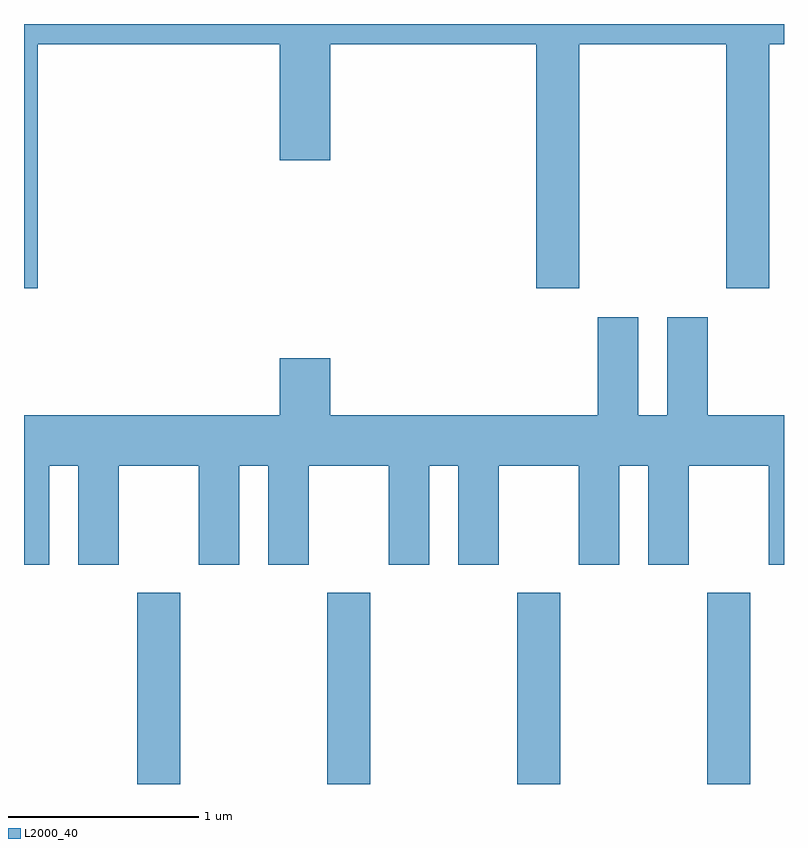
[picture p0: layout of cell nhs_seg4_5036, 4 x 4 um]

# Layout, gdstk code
import gdstk
lib = gdstk.Library(unit=1e-6, precision=1e-09)
def R(c, l, rs):  # rectangles x0, y0, x1, y1
    for r in rs: c.add(gdstk.rectangle(r[:2], r[2:], *l))
def A(c, l, x, y, w, h, nx, ny, dx, dy):  # array of equal rectangles
    R(c, l, [(x+i*dx, y+j*dy, x+i*dx+w, y+j*dy+h) for i in range(nx) for j in range(ny)])
def P(c, l, *ps):  # polygons
    for p in ps: c.add(gdstk.Polygon(p, *l))
L2000_40 = (2000, 40)

nhs_seg4_5036 = lib.new_cell('nhs_seg4_5036')
A(nhs_seg4_5036, L2000_40, 334.206, 1261.982, 0.228, 1.007, 4, 1, 1, 0)
P(nhs_seg4_5036, L2000_40, [(333.611,1264.591),(333.684,1264.591),(333.684,1265.876),(334.956,1265.876),(334.956,1265.266),(335.224,1265.266),(335.224,1265.876),(336.306,1265.876),(336.306,1264.591),(336.534,1264.591),(336.534,1265.876),(337.306,1265.876),(337.306,1264.591),(337.534,1264.591),(337.534,1265.876),(337.611,1265.876),(337.611,1265.982),(333.611,1265.982)],
  [(333.744,1263.656),(333.896,1263.656),(333.896,1263.136),(334.109,1263.136),(334.109,1263.656),(334.531,1263.656),(334.531,1263.136),(334.744,1263.136),(334.744,1263.656),(334.896,1263.656),(334.896,1263.136),(335.109,1263.136),(335.109,1263.656),(335.531,1263.656),(335.531,1263.136),(335.744,1263.136),(335.744,1263.656),(335.896,1263.656),(335.896,1263.136),(336.109,1263.136),(336.109,1263.656),(336.531,1263.656),(336.531,1263.136),(336.744,1263.136),(336.744,1263.656),(336.896,1263.656),(336.896,1263.136),(337.109,1263.136),(337.109,1263.656),(337.531,1263.656),(337.531,1263.136),(337.611,1263.136),(337.611,1263.924),(337.209,1263.924),(337.209,1264.439),(336.996,1264.439),(336.996,1263.924),(336.844,1263.924),(336.844,1264.439),(336.631,1264.439),(336.631,1263.924),(335.224,1263.924),(335.224,1264.224),(334.956,1264.224),(334.956,1263.924),(333.611,1263.924),(333.611,1263.136),(333.744,1263.136)])

lib.write_gds('nhs_seg4_5036.gds')
